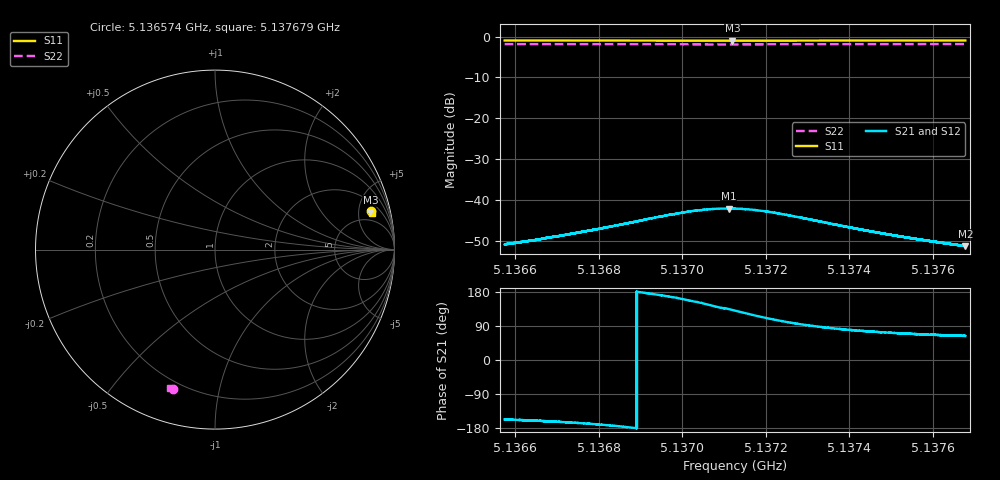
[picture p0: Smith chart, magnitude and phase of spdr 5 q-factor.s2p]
!Agilent Technologies,N5230A,MY46401289,A.07.50.67
!Agilent N5230A: A.07.50.67
!Date: Tuesday, January 05, 2021 01:31:06
!Correction: S11(Full 2 Port(1,2))
!S21(Full 2 Port(1,2))
!S12(Full 2 Port(1,2))
!S22(Full 2 Port(1,2))
!S2P File: Measurements: S11, S21, S12, S22:
# Hz S  MA  R 50
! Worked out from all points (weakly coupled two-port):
!   16001 points, 5.136574 GHz to 5.137679 GHz, reference 50 ohm
!   highest |S21| = -42.08 dB at 5.137111 GHz (marker M1); lowest = -51.3 dB at 5.137679 GHz (marker M2)
!   lowest |S11| = -1.0 dB at 5.13712 GHz (marker M3), VSWR 17.19, Z = 170 + j339 ohm
!   |S11| at or under -10 dB: nowhere
!   |S22| runs from -1.9 to -1.8 dB; largest |S21 - S12| = 0.00033
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5.1365744e9  0.8965 14.0  0.002861 -156.9  0.002875 -155.6  0.8096 -106.9
5.1366546e9  0.8965 13.7  0.003276 -160.2  0.003297 -159.1  0.8094 -107.1
5.1366695e9  0.8964 13.7  0.003396 -161.4  0.003393 -160.1  0.8093 -107.1
5.1367043e9  0.8962 13.7  0.003628 -163.4  0.003616 -162.0  0.8092 -107.2
5.1367584e9  0.8957 13.6  0.004058 -166.8  0.004037 -165.4  0.8088 -107.3
5.1368462e9  0.8948 13.5  0.004899 -174.5  0.0049 -173.1  0.808 -107.4
5.1369425e9  0.893 13.4  0.006208 172.0  0.00616 173.9  0.8064 -107.6
5.1369902e9  0.892 13.4  0.006861 163.2  0.006848 165.0  0.8051 -107.6
5.1370275e9  0.8911 13.4  0.00736 154.6  0.00734 156.7  0.8043 -107.6
5.1370748e9  0.8903 13.4  0.007771 142.5  0.007789 144.6  0.8034 -107.6
5.1371111e9  0.8902 13.5  0.007866 134.5  0.007905 134.8  0.8031 -107.5
5.1371201e9  0.8901 13.5  0.007846 131.9  0.007895 132.4  0.8032 -107.5
5.1371265e9  0.8902 13.5  0.007827 130.2  0.007888 130.6  0.8031 -107.5
5.137161e9  0.8905 13.5  0.007655 120.9  0.007691 121.3  0.8034 -107.5
5.1372017e9  0.8914 13.6  0.007233 110.8  0.00725 111.4  0.8043 -107.5
5.1372465e9  0.8924 13.6  0.006622 101.2  0.006629 101.8  0.8055 -107.5
5.1373106e9  0.8937 13.5  0.005714 90.3  0.005715 90.9  0.807 -107.5
5.1374059e9  0.8952 13.4  0.004569 78.9  0.004581 79.9  0.8087 -107.7
5.1374947e9  0.8961 13.3  0.003789 72.1  0.003795 73.0  0.8097 -107.8
5.137585e9  0.8967 13.2  0.003186 67.4  0.003205 68.1  0.8104 -108.0
5.1376786e9  0.8968 13.1  0.002721 63.5  0.002749 64.3  0.8109 -108.2
5.1376787e9  0.897 13.1  0.002737 63.4  0.002735 64.6  0.811 -108.2
